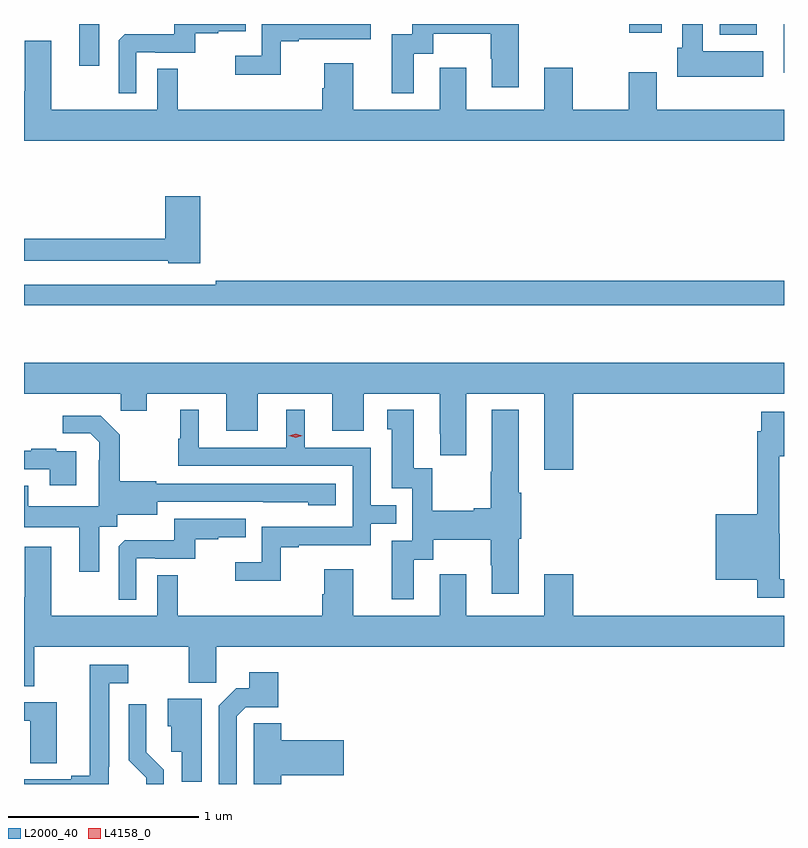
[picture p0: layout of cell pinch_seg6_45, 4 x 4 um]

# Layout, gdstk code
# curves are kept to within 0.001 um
import gdstk
lib = gdstk.Library(unit=1e-6, precision=1e-09)
def R(c, l, rs):  # rectangles x0, y0, x1, y1
    for r in rs: c.add(gdstk.rectangle(r[:2], r[2:], *l))
def P(c, l, *ps):  # polygons
    for p in ps: c.add(gdstk.Polygon(p, *l))
L2000_40 = (2000, 40)
L4158_0 = (4158, 0)

pinch_seg6_45 = lib.new_cell('pinch_seg6_45')
R(pinch_seg6_45, L2000_40, [(965.567,995.646,965.568,995.902), (961.859,995.682,961.963,995.902), (965.229,995.846,965.425,995.902), (964.754,995.856,964.924,995.902)])
P(pinch_seg6_45, L2000_40, [(962.919,995.811),(963.013,995.811),(963.013,995.823),(963.393,995.823),(963.393,995.902),(962.82,995.902),(962.82,995.734),(962.679,995.734),(962.679,995.636),(962.919,995.636)],
  [(963.619,995.746),(963.721,995.746),(963.721,995.852),(964.024,995.852),(964.024,995.718),(964.031,995.718),(964.031,995.568),(964.171,995.568),(964.171,995.902),(963.612,995.902),(963.612,995.847),(963.503,995.847),(963.503,995.538),(963.619,995.538)],
  [(962.16,995.754),(962.26,995.754),(962.26,995.751),(962.468,995.751),(962.468,995.853),(962.591,995.853),(962.591,995.864),(962.735,995.864),(962.735,995.902),(962.358,995.902),(962.358,995.849),(962.099,995.849),(962.067,995.817),(962.067,995.537),(962.16,995.537)],
  [(965.458,995.758),(965.14,995.758),(965.14,995.902),(965.033,995.902),(965.033,995.778),(965.006,995.778),(965.006,995.624),(965.458,995.624)],
  [(965.568,995.452),(964.897,995.452),(964.897,995.647),(964.75,995.647),(964.75,995.452),(964.455,995.452),(964.455,995.671),(964.307,995.671),(964.307,995.452),(963.895,995.452),(963.895,995.671),(963.755,995.671),(963.755,995.452),(963.301,995.452),(963.301,995.695),(963.149,995.695),(963.149,995.565),(963.137,995.565),(963.137,995.452),(962.377,995.452),(962.377,995.666),(962.268,995.666),(962.268,995.452),(961.711,995.452),(961.711,995.815),(961.571,995.815),(961.571,995.548),(961.568,995.548),(961.568,995.288),(965.568,995.288)],
  [(962.495,994.996),(962.312,994.996),(962.312,994.772),(961.568,994.772),(961.568,994.656),(962.328,994.656),(962.328,994.643),(962.495,994.643)],
  [(965.568,994.55),(962.578,994.55),(962.578,994.53),(961.568,994.53),(961.568,994.422),(965.568,994.422)],
  [(964.46,993.956),(965.568,993.956),(965.568,994.12),(961.568,994.12),(961.568,993.956),(962.077,993.956),(962.077,993.866),(962.215,993.866),(962.215,993.956),(962.633,993.956),(962.633,993.762),(962.797,993.762),(962.797,993.956),(963.191,993.956),(963.191,993.762),(963.355,993.762),(963.355,993.956),(963.755,993.956),(963.755,993.745),(963.758,993.745),(963.758,993.633),(963.895,993.633),(963.895,993.956),(964.307,993.956),(964.307,993.555),(964.46,993.555)],
  [(963.619,993.082),(963.721,993.082),(963.721,993.188),(964.024,993.188),(964.024,993.054),(964.031,993.054),(964.031,992.904),(964.171,992.904),(964.171,993.192),(964.184,993.192),(964.184,993.436),(964.171,993.436),(964.171,993.871),(964.031,993.871),(964.031,993.545),(964.024,993.545),(964.024,993.353),(963.935,993.353),(963.935,993.34),(963.717,993.34),(963.717,993.563),(963.619,993.563),(963.619,993.871),(963.479,993.871),(963.479,993.768),(963.503,993.768),(963.503,993.459),(963.612,993.459),(963.612,993.183),(963.503,993.183),(963.503,992.874),(963.619,992.874)],
  [(962.919,993.147),(963.013,993.147),(963.013,993.159),(963.393,993.159),(963.393,993.273),(963.527,993.273),(963.527,993.369),(963.393,993.369),(963.393,993.672),(963.046,993.672),(963.046,993.871),(962.948,993.871),(962.948,993.672),(962.488,993.672),(962.488,993.871),(962.39,993.871),(962.39,993.72),(962.379,993.72),(962.379,993.576),(963.297,993.576),(963.297,993.255),(962.82,993.255),(962.82,993.07),(962.679,993.07),(962.679,992.972),(962.919,992.972)],
  [(965.568,992.979),(965.545,992.979),(965.545,993.218),(965.544,993.218),(965.544,993.626),(965.568,993.626),(965.568,993.862),(965.447,993.862),(965.447,993.758),(965.428,993.758),(965.428,993.322),(965.21,993.322),(965.21,992.978),(965.428,992.978),(965.428,992.883),(965.568,992.883)],
  [(961.963,993.256),(962.058,993.256),(962.058,993.32),(962.269,993.32),(962.269,993.387),(963.063,993.386),(963.063,993.368),(963.208,993.368),(963.208,993.483),(962.265,993.483),(962.265,993.496),(962.073,993.496),(962.073,993.741),(961.973,993.841),(961.773,993.841),(961.773,993.747),(961.917,993.747),(961.964,993.7),(961.964,993.605),(961.962,993.605),(961.962,993.364),(961.591,993.364),(961.591,993.473),(961.568,993.473),(961.568,993.254),(961.859,993.254),(961.859,993.018),(961.963,993.018)],
  [(961.843,993.654),(961.739,993.654),(961.739,993.667),(961.607,993.667),(961.607,993.656),(961.568,993.656),(961.568,993.558),(961.703,993.558),(961.703,993.474),(961.843,993.474)],
  [(962.16,993.09),(962.26,993.09),(962.26,993.087),(962.468,993.087),(962.468,993.189),(962.591,993.189),(962.591,993.2),(962.735,993.2),(962.735,993.297),(962.358,993.297),(962.358,993.185),(962.099,993.185),(962.067,993.153),(962.067,992.873),(962.16,992.873)],
  [(961.621,992.624),(962.434,992.624),(962.434,992.435),(962.58,992.435),(962.58,992.624),(965.568,992.624),(965.568,992.788),(964.46,992.788),(964.46,993.007),(964.307,993.007),(964.307,992.788),(963.895,992.788),(963.895,993.007),(963.755,993.007),(963.755,992.788),(963.301,992.788),(963.301,993.031),(963.149,993.031),(963.149,992.901),(963.137,992.901),(963.137,992.788),(962.377,992.788),(962.377,993.002),(962.268,993.002),(962.268,992.788),(961.711,992.788),(961.711,993.151),(961.571,993.151),(961.571,992.884),(961.568,992.884),(961.568,992.416),(961.621,992.416)],
  [(962.013,991.993),(962.017,991.993),(962.017,992.433),(962.116,992.433),(962.116,992.529),(961.913,992.529),(961.913,991.946),(961.817,991.946),(961.817,991.926),(961.568,991.926),(961.568,991.902),(962.013,991.902)],
  [(962.688,992.259),(962.736,992.307),(962.906,992.307),(962.906,992.491),(962.753,992.491),(962.753,992.406),(962.685,992.406),(962.592,992.313),(962.592,991.902),(962.688,991.902)],
  [(962.503,992.35),(962.324,992.35),(962.324,992.205),(962.343,992.205),(962.343,992.073),(962.399,992.073),(962.399,991.914),(962.503,991.914)],
  [(961.741,992.331),(961.568,992.331),(961.568,992.235),(961.602,992.235),(961.602,992.011),(961.741,992.011)],
  [(962.304,991.978),(962.212,992.07),(962.212,992.323),(962.118,992.323),(962.118,992.028),(962.211,991.935),(962.211,991.902),(962.304,991.902)],
  [(962.921,991.949),(963.25,991.949),(963.25,992.132),(962.921,992.132),(962.921,992.222),(962.778,992.222),(962.778,992.114),(962.777,992.114),(962.777,991.902),(962.921,991.902)])
P(pinch_seg6_45, L4158_0, [(962.997,993.725),(962.961,993.735),(962.961,993.736),(962.961,993.736),(962.997,993.745),(963.033,993.735),(963.033,993.735),(963.033,993.735)])

lib.write_gds('pinch_seg6_45.gds')
